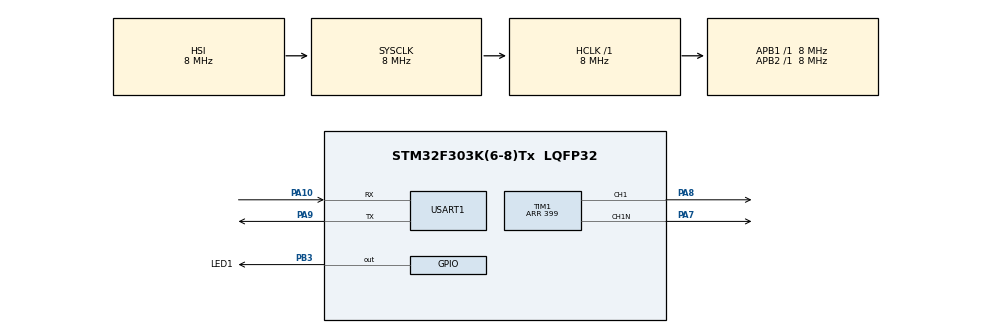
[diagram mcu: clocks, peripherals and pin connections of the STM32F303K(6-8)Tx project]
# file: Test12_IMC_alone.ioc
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Mcu.Family=STM32F3
Mcu.Name=STM32F303K(6-8)Tx
Mcu.Package=LQFP32
NVIC.PriorityGroup=NVIC_PRIORITYGROUP_4
PA10.Mode=Asynchronous
PA10.Signal=USART1_RX
PA13.Mode=Serial_Wire
PA13.Signal=SYS_JTMS-SWDIO
PA14.Mode=Serial_Wire
PA14.Signal=SYS_JTCK-SWCLK
PA7.Mode=PWM Generation1 CH1 CH1N
PA7.Signal=TIM1_CH1N
PA8.Signal=S_TIM1_CH1
PA9.Mode=Asynchronous
PA9.Signal=USART1_TX
PB3.GPIO_Label=LED1
PB3.Signal=GPIO_Output
ProjectManager.HeapSize=0x200
ProjectManager.StackSize=0x400
ProjectManager.TargetToolchain=SW4STM32
RCC.AHBFreq_Value=8000000
RCC.APB1Freq_Value=8000000
RCC.APB2Freq_Value=8000000
RCC.CortexFreq_Value=8000000
RCC.HSE_VALUE=8000000
RCC.HSI_VALUE=8000000
RCC.SYSCLKFreq_VALUE=8000000
SH.S_TIM1_CH1.0=TIM1_CH1,PWM Generation1 CH1 CH1N
TIM1.AutomaticOutput=TIM_AUTOMATICOUTPUT_DISABLE
TIM1.BreakState=TIM_BREAK_DISABLE
TIM1.DeadTime=0
TIM1.LockLevel=TIM_LOCKLEVEL_OFF
TIM1.OCMode_PWM-PWM\ Generation1\ CH1\ CH1N=TIM_OCMODE_ASSYMETRIC_PWM1
TIM1.OCPolarity_1=TIM_OCPOLARITY_HIGH
TIM1.OffStateIDLEMode=TIM_OSSI_DISABLE
TIM1.OffStateRunMode=TIM_OSSR_DISABLE
TIM1.Period=399
TIM1.TIM_MasterOutputTrigger=TIM_TRGO_RESET
TIM1.TIM_MasterOutputTrigger2=TIM_TRGO2_RESET
TIM1.TIM_MasterSlaveMode=TIM_MASTERSLAVEMODE_DISABLE
board=Test12_IMC_alone

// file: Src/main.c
/**
  ******************************************************************************
  * File Name          : main.c
  * Description        : Main program body
  ******************************************************************************
  *
  * COPYRIGHT(c) 2017 STMicroelectronics
  *
  * Redistribution and use in source and binary forms, with or without modification,
  * are permitted provided that the following conditions are met:
  *   1. Redistributions of source code must retain the above copyright notice,
  *      this list of conditions and the following disclaimer.
  *   2. Redistributions in binary form must reproduce the above copyright notice,
  *      this list of conditions and the following disclaimer in the documentation
  *      and/or other materials provided with the distribution.
  *   3. Neither the name of STMicroelectronics nor the names of its contributors
  *      may be used to endorse or promote products derived from this software
  *      without specific prior written permission.
  *
  * THIS SOFTWARE IS PROVIDED BY THE COPYRIGHT HOLDERS AND CONTRIBUTORS "AS IS"
  * AND ANY EXPRESS OR IMPLIED WARRANTIES, INCLUDING, BUT NOT LIMITED TO, THE
  * IMPLIED WARRANTIES OF MERCHANTABILITY AND FITNESS FOR A PARTICULAR PURPOSE ARE
  * DISCLAIMED. IN NO EVENT SHALL THE COPYRIGHT HOLDER OR CONTRIBUTORS BE LIABLE
  * FOR ANY DIRECT, INDIRECT, INCIDENTAL, SPECIAL, EXEMPLARY, OR CONSEQUENTIAL
  * DAMAGES (INCLUDING, BUT NOT LIMITED TO, PROCUREMENT OF SUBSTITUTE GOODS OR
  * SERVICES; LOSS OF USE, DATA, OR PROFITS; OR BUSINESS INTERRUPTION) HOWEVER
  * CAUSED AND ON ANY THEORY OF LIABILITY, WHETHER IN CONTRACT, STRICT LIABILITY,
  * OR TORT (INCLUDING NEGLIGENCE OR OTHERWISE) ARISING IN ANY WAY OUT OF THE USE
  * OF THIS SOFTWARE, EVEN IF ADVISED OF THE POSSIBILITY OF SUCH DAMAGE.
  *
  ******************************************************************************
  */
#include "main.h"
#include "stm32f3xx_hal.h"

TIM_HandleTypeDef htim1;

UART_HandleTypeDef huart1;

/* USER CODE BEGIN PV */
/* Private variables ---------------------------------------------------------*/

/* USER CODE END PV */

void SystemClock_Config(void);
void Error_Handler(void);
static void MX_GPIO_Init(void);
static void MX_TIM1_Init(void);
static void MX_USART1_UART_Init(void);
void HAL_TIM_MspPostInit(TIM_HandleTypeDef *htim);

/* USER CODE BEGIN PFP */
/* Private function prototypes -----------------------------------------------*/

void user_tim1_pwm_setvalue(float value);
/* USER CODE END PFP */

int main(void)
{

  /* USER CODE BEGIN 1 */
  float data =0.0f;
  /* USER CODE END 1 */

  /* MCU Configuration----------------------------------------------------------*/

  /* Reset of all peripherals, Initializes the Flash interface and the Systick. */
  HAL_Init();

  /* Configure the system clock */
  SystemClock_Config();

  /* Initialize all configured peripherals */
  MX_GPIO_Init();
  MX_TIM1_Init();
  MX_USART1_UART_Init();

  /* Infinite loop */
  while (1)
  {

  /* USER CODE BEGIN 3 */
//  	data = data+0.01f;
//  	if(data > 1.0)data=0.0;
  	user_tim1_pwm_setvalue(data);
  	HAL_GPIO_TogglePin(LED1_GPIO_Port,LED1_Pin);
  	HAL_Delay(50);
  }
  /* USER CODE END 3 */

}

/** System Clock Configuration
*/
void SystemClock_Config(void)
{

  RCC_OscInitTypeDef RCC_OscInitStruct;
  RCC_ClkInitTypeDef RCC_ClkInitStruct;
  RCC_PeriphCLKInitTypeDef PeriphClkInit;

    /**Initializes the CPU, AHB and APB busses clocks
    */
  RCC_OscInitStruct.OscillatorType = RCC_OSCILLATORTYPE_HSI;
  RCC_OscInitStruct.HSIState = RCC_HSI_ON;
  RCC_OscInitStruct.HSICalibrationValue = 16;
  RCC_OscInitStruct.PLL.PLLState = RCC_PLL_NONE;
  if (HAL_RCC_OscConfig(&RCC_OscInitStruct) != HAL_OK)
  {
    Error_Handler();
  }

    /**Initializes the CPU, AHB and APB busses clocks
    */
  RCC_ClkInitStruct.ClockType = RCC_CLOCKTYPE_HCLK|RCC_CLOCKTYPE_SYSCLK
                              |RCC_CLOCKTYPE_PCLK1|RCC_CLOCKTYPE_PCLK2;
  RCC_ClkInitStruct.SYSCLKSource = RCC_SYSCLKSOURCE_HSI;
  RCC_ClkInitStruct.AHBCLKDivider = RCC_SYSCLK_DIV1;
  RCC_ClkInitStruct.APB1CLKDivider = RCC_HCLK_DIV1;
  RCC_ClkInitStruct.APB2CLKDivider = RCC_HCLK_DIV1;

  if (HAL_RCC_ClockConfig(&RCC_ClkInitStruct, FLASH_LATENCY_0) != HAL_OK)
  {
    Error_Handler();
  }

  PeriphClkInit.PeriphClockSelection = RCC_PERIPHCLK_USART1|RCC_PERIPHCLK_TIM1;
  PeriphClkInit.Usart1ClockSelection = RCC_USART1CLKSOURCE_PCLK1;
  PeriphClkInit.Tim1ClockSelection = RCC_TIM1CLK_HCLK;
  if (HAL_RCCEx_PeriphCLKConfig(&PeriphClkInit) != HAL_OK)
  {
    Error_Handler();
  }

    /**Configure the Systick interrupt time
    */
  HAL_SYSTICK_Config(HAL_RCC_GetHCLKFreq()/1000);

    /**Configure the Systick
    */
  HAL_SYSTICK_CLKSourceConfig(SYSTICK_CLKSOURCE_HCLK);

  /* SysTick_IRQn interrupt configuration */
  HAL_NVIC_SetPriority(SysTick_IRQn, 0, 0);
}

/* TIM1 init function */
static void MX_TIM1_Init(void)
{

  TIM_MasterConfigTypeDef sMasterConfig;
  TIM_OC_InitTypeDef sConfigOC;
  TIM_BreakDeadTimeConfigTypeDef sBreakDeadTimeConfig;

  htim1.Instance = TIM1;
  htim1.Init.Prescaler = 0;
  htim1.Init.CounterMode = TIM_COUNTERMODE_UP;
  htim1.Init.Period = 399;
  htim1.Init.ClockDivision = TIM_CLOCKDIVISION_DIV1;
  htim1.Init.RepetitionCounter = 0;
  if (HAL_TIM_PWM_Init(&htim1) != HAL_OK)
  {
    Error_Handler();
  }

  sMasterConfig.MasterOutputTrigger = TIM_TRGO_RESET;
  sMasterConfig.MasterOutputTrigger2 = TIM_TRGO2_RESET;
  sMasterConfig.MasterSlaveMode = TIM_MASTERSLAVEMODE_DISABLE;
  if (HAL_TIMEx_MasterConfigSynchronization(&htim1, &sMasterConfig) != HAL_OK)
  {
    Error_Handler();
  }

  sConfigOC.OCMode = TIM_OCMODE_ASSYMETRIC_PWM1;
  sConfigOC.Pulse = 0;
  sConfigOC.OCPolarity = TIM_OCPOLARITY_HIGH;
  sConfigOC.OCNPolarity = TIM_OCNPOLARITY_HIGH;
  sConfigOC.OCFastMode = TIM_OCFAST_DISABLE;
  sConfigOC.OCIdleState = TIM_OCIDLESTATE_RESET;
  sConfigOC.OCNIdleState = TIM_OCNIDLESTATE_RESET;
  if (HAL_TIM_PWM_ConfigChannel(&htim1, &sConfigOC, TIM_CHANNEL_1) != HAL_OK)
  {
    Error_Handler();
  }

  sBreakDeadTimeConfig.OffStateRunMode = TIM_OSSR_DISABLE;
  sBreakDeadTimeConfig.OffStateIDLEMode = TIM_OSSI_DISABLE;
  sBreakDeadTimeConfig.LockLevel = TIM_LOCKLEVEL_OFF;
  sBreakDeadTimeConfig.DeadTime = 10;
  sBreakDeadTimeConfig.BreakState = TIM_BREAK_DISABLE;
  sBreakDeadTimeConfig.BreakPolarity = TIM_BREAKPOLARITY_HIGH;
  sBreakDeadTimeConfig.BreakFilter = 0;
  sBreakDeadTimeConfig.Break2State = TIM_BREAK2_DISABLE;
  sBreakDeadTimeConfig.Break2Polarity = TIM_BREAK2POLARITY_HIGH;
  sBreakDeadTimeConfig.Break2Filter = 0;
  sBreakDeadTimeConfig.AutomaticOutput = TIM_AUTOMATICOUTPUT_DISABLE;
  if (HAL_TIMEx_ConfigBreakDeadTime(&htim1, &sBreakDeadTimeConfig) != HAL_OK)
  {
    Error_Handler();
  }

  HAL_TIM_MspPostInit(&htim1);

}

/* USART1 init function */
static void MX_USART1_UART_Init(void)
{

  huart1.Instance = USART1;
  huart1.Init.BaudRate = 38400;
  huart1.Init.WordLength = UART_WORDLENGTH_7B;
  huart1.Init.StopBits = UART_STOPBITS_1;
  huart1.Init.Parity = UART_PARITY_NONE;
  huart1.Init.Mode = UART_MODE_TX_RX;
  huart1.Init.HwFlowCtl = UART_HWCONTROL_NONE;
  huart1.Init.OverSampling = UART_OVERSAMPLING_16;
  huart1.Init.OneBitSampling = UART_ONE_BIT_SAMPLE_DISABLE;
  huart1.AdvancedInit.AdvFeatureInit = UART_ADVFEATURE_NO_INIT;
  if (HAL_UART_Init(&huart1) != HAL_OK)
  {
    Error_Handler();
  }

}

/** Configure pins as
        * Analog
        * Input
        * Output
        * EVENT_OUT
        * EXTI
*/
static void MX_GPIO_Init(void)
{

  GPIO_InitTypeDef GPIO_InitStruct;

  /* GPIO Ports Clock Enable */
  __HAL_RCC_GPIOA_CLK_ENABLE();
  __HAL_RCC_GPIOB_CLK_ENABLE();

  /*Configure GPIO pin Output Level */
  HAL_GPIO_WritePin(LED1_GPIO_Port, LED1_Pin, GPIO_PIN_RESET);

  /*Configure GPIO pin : LED1_Pin */
  GPIO_InitStruct.Pin = LED1_Pin;
  GPIO_InitStruct.Mode = GPIO_MODE_OUTPUT_PP;
  GPIO_InitStruct.Pull = GPIO_NOPULL;
  GPIO_InitStruct.Speed = GPIO_SPEED_FREQ_LOW;
  HAL_GPIO_Init(LED1_GPIO_Port, &GPIO_InitStruct);

}

/* USER CODE BEGIN 4 */
void user_tim1_pwm_setvalue(float value)
{
/*この設定なら相補で出てくる.Ｎ側がデッドタイム考慮される。*/
    TIM_OC_InitTypeDef sConfigOC;

  	sConfigOC.OCMode = TIM_OCMODE_ASSYMETRIC_PWM1;
    sConfigOC.Pulse = (uint32_t)((400)*value);
  	sConfigOC.OCPolarity = TIM_OCPOLARITY_HIGH;
  	sConfigOC.OCNPolarity = TIM_OCNPOLARITY_HIGH;
  	sConfigOC.OCFastMode = TIM_OCFAST_DISABLE;
  	sConfigOC.OCIdleState = TIM_OCIDLESTATE_RESET;
  	sConfigOC.OCNIdleState = TIM_OCNIDLESTATE_RESET;
    HAL_TIM_PWM_ConfigChannel(&htim1, &sConfigOC, TIM_CHANNEL_1);
    HAL_TIM_PWM_Start(&htim1, TIM_CHANNEL_1);
    HAL_TIMEx_PWMN_Start(&htim1, TIM_CHANNEL_1);
}
/* USER CODE END 4 */

void Error_Handler(void)
{
  /* USER CODE BEGIN Error_Handler */
  /* User can add his own implementation to report the HAL error return state */
  while(1)
  {
		HAL_GPIO_WritePin(LED1_GPIO_Port,LED1_Pin,GPIO_PIN_SET);
		HAL_Delay(200);
		HAL_GPIO_WritePin(LED1_GPIO_Port,LED1_Pin,GPIO_PIN_RESET);
		HAL_Delay(50);
  }
  /* USER CODE END Error_Handler */
}

/************************ (C) COPYRIGHT STMicroelectronics *****END OF FILE****/
